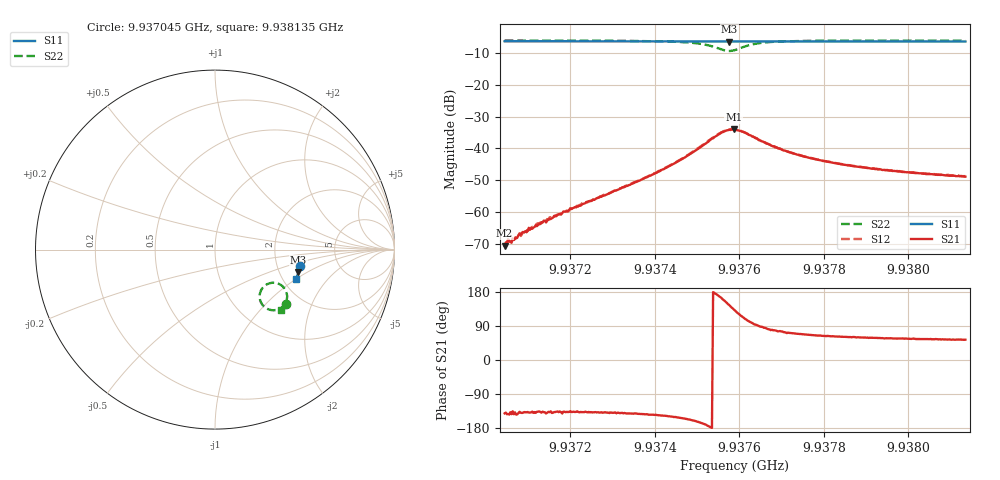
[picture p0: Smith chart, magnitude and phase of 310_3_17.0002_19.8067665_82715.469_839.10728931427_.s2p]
#  HZ  S  RI  R  50.00
! Rohde & Schwarz Vector Network Analyzer
! Rohde-Schwarz,ZNB20-2Port,1311601062101988,3.16
! Created: UTC 3/20/2024, 11:05:59 PM
! freq[Hz]  re:S11  im:S11  re:S21  im:S21  re:S12  im:S12  re:S22  im:S22
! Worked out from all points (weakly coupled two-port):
!   401 points, 9.937045 GHz to 9.938135 GHz, reference 50 ohm
!   highest |S21| = -34.07 dB at 9.937587 GHz (marker M1); lowest = -70.7 dB at 9.937045 GHz (marker M2)
!   lowest |S11| = -6.4 dB at 9.937576 GHz (marker M3), VSWR 2.85, Z = 127 - j41.2 ohm
!   |S11| at or under -10 dB: nowhere
!   |S22| runs from -9.4 to -6.0 dB; largest |S21 - S12| = 0.00075
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9.9370448e9  0.4759 -0.0908  -0.000226 -0.000185  -0.000227 -0.000176  0.3964 -0.3022
9.937053e9  0.4757 -0.0915  -0.000294 -0.000226  -0.000244 -0.000231  0.3961 -0.3028
9.9370666e9  0.4755 -0.0922  -0.000287 -0.000215  -0.0003 -0.000207  0.3947 -0.3038
9.9370748e9  0.4753 -0.0929  -0.000313 -0.000231  -0.00032 -0.000286  0.3942 -0.3043
9.937083e9  0.4752 -0.0934  -0.00033 -0.000285  -0.000333 -0.000249  0.3938 -0.3049
9.9371239e9  0.4745 -0.0963  -0.00045 -0.000428  -0.000513 -0.000413  0.3907 -0.3082
9.9371675e9  0.4737 -0.0991  -0.000618 -0.00059  -0.000659 -0.000601  0.3874 -0.3113
9.9372275e9  0.4725 -0.1032  -0.000959 -0.00087  -0.00101 -0.000908  0.3815 -0.3161
9.9374101e9  0.4686 -0.1155  -0.00356 -0.00242  -0.00368 -0.00242  0.35 -0.334
9.9374673e9  0.4672 -0.1195  -0.0062 -0.00304  -0.00637 -0.00299  0.3252 -0.3378
9.9375164e9  0.4656 -0.1226  -0.0112 -0.00219  -0.0115 -0.00202  0.284 -0.3259
9.9375546e9  0.464 -0.1247  -0.0166 0.004  -0.0168 0.00459  0.2487 -0.2691
9.9375764e9  0.4633 -0.1252  -0.016 0.0112  -0.0158 0.0119  0.2654 -0.2135
9.9375873e9  0.4633 -0.1255  -0.0136 0.0144  -0.0133 0.015  0.2893 -0.1934
9.93759e9  0.4632 -0.1257  -0.0127 0.015  -0.0124 0.0155  0.2964 -0.1902
9.9376145e9  0.4638 -0.1268  -0.0054 0.0167  -0.00501 0.0168  0.355 -0.1907
9.9376472e9  0.4638 -0.1291  0.000179 0.0133  0.00048 0.0136  0.3923 -0.2245
9.9377127e9  0.4625 -0.134  0.00294 0.00848  0.00287 0.00854  0.4014 -0.271
9.9377726e9  0.4614 -0.1381  0.00283 0.00633  0.00298 0.00629  0.3966 -0.2918
9.9378762e9  0.4589 -0.145  0.00262 0.00446  0.00268 0.00444  0.3871 -0.3108
9.9379553e9  0.4568 -0.1502  0.00241 0.00373  0.00252 0.00375  0.3805 -0.3197
9.9381352e9  0.452 -0.1617  0.00212 0.00288  0.00224 0.00289  0.368 -0.3343
